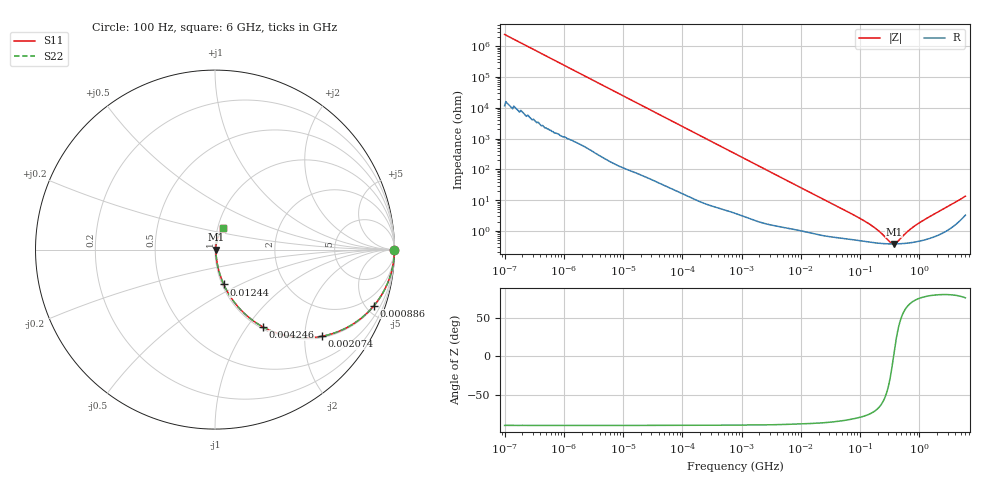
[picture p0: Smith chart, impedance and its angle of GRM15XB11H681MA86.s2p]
!Murata Part Number: GRM15XB11H681MA86
!These Parameters are Measured in Series Mode Connection
!Data Generated on Mar 30, 2021
!  o--ll--o
!Port1  Port2
!  o------o
!Operation Temp=25[degC], DC Bias Voltage=0[V]
!Freq. Start=100[Hz] Stop=6[GHz] 401[Steps]
# Hz S RI R 50
!Freq.(Hz) S11(Real) S11(Imag) S21(Real) S21(Imag) S12(Real) S12(Imag) S22(Real) S22(Imag)
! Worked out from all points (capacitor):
!   401 points, 100 Hz to 6 GHz, reference 50 ohm
!   read as one part in series: C = 656 pF near 109 Hz
!   lowest |Z| = 380 mohm at 373.7 MHz (marker M1)
!   series resonance near 367.9 MHz, so ESL is about 290 pH
!   S11 on the Smith chart (normalised r, x): 100 Hz: open; 886 kHz: 1.07, -5.65; 2.074 MHz: 1.04, -2.43; 4.246 MHz: 1.03, -1.19; 12.44 MHz: 1.02, -0.41; 6 GHz: 1.07, +0.26
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100  1 -4.13e-05  2e-07 4.13e-05  2e-07 4.13e-05  1 -4.13e-05
256  1 -0.000105  6e-07 0.000105  6e-07 0.000105  1 -0.000105
2008  1 -0.000821  4.8e-06 0.000821  4.8e-06 0.000821  1 -0.000821
40335  0.9996 -0.0163  0.000363 0.0163  0.000363 0.0163  0.9996 -0.0163
231233  0.9907 -0.0921  0.00926 0.0921  0.00926 0.0921  0.9907 -0.0921
774597  0.9097 -0.2808  0.0903 0.2808  0.0903 0.2808  0.9097 -0.2808
885955  0.8857 -0.3122  0.1143 0.3122  0.1143 0.3122  0.8857 -0.3122
1325623  0.7787 -0.4084  0.2213 0.4084  0.2213 0.4084  0.7787 -0.4084
2074311  0.5939 -0.4833  0.4061 0.4833  0.4061 0.4833  0.5939 -0.4833
4246196  0.2665 -0.4306  0.7335 0.4306  0.7335 0.4306  0.2665 -0.4306
6948629  0.1258 -0.316  0.8742 0.316  0.8742 0.316  0.1258 -0.316
1.243624e7  0.0488 -0.1943  0.9512 0.1943  0.9512 0.1943  0.0488 -0.1943
1.555665e7  0.0342 -0.1584  0.9658 0.1584  0.9658 0.1584  0.0342 -0.1584
3.80911e7  0.0106 -0.0669  0.9894 0.0669  0.9894 0.0669  0.0106 -0.0669
1.275994e8  0.00482 -0.0187  0.9952 0.0187  0.9952 0.0187  0.00482 -0.0187
1.996653e8  0.0041 -0.00975  0.9959 0.00975  0.9959 0.00975  0.0041 -0.00975
3.124326e8  0.0038 -0.00248  0.9962 0.00248  0.9962 0.00248  0.0038 -0.00248
3.737127e8  0.00378 0.000243  0.9962 -0.000243  0.9962 -0.000243  0.00378 0.000243
4.274388e8  0.00381 0.00229  0.9962 -0.00229  0.9962 -0.00229  0.00381 0.00229
6.395615e8  0.0041 0.0088  0.9959 -0.0088  0.9959 -0.0088  0.0041 0.0088
9.569533e8  0.00483 0.0166  0.9952 -0.0166  0.9952 -0.0166  0.00483 0.0166
6e9  0.0471 0.1212  0.9529 -0.1212  0.9529 -0.1212  0.0471 0.1212
